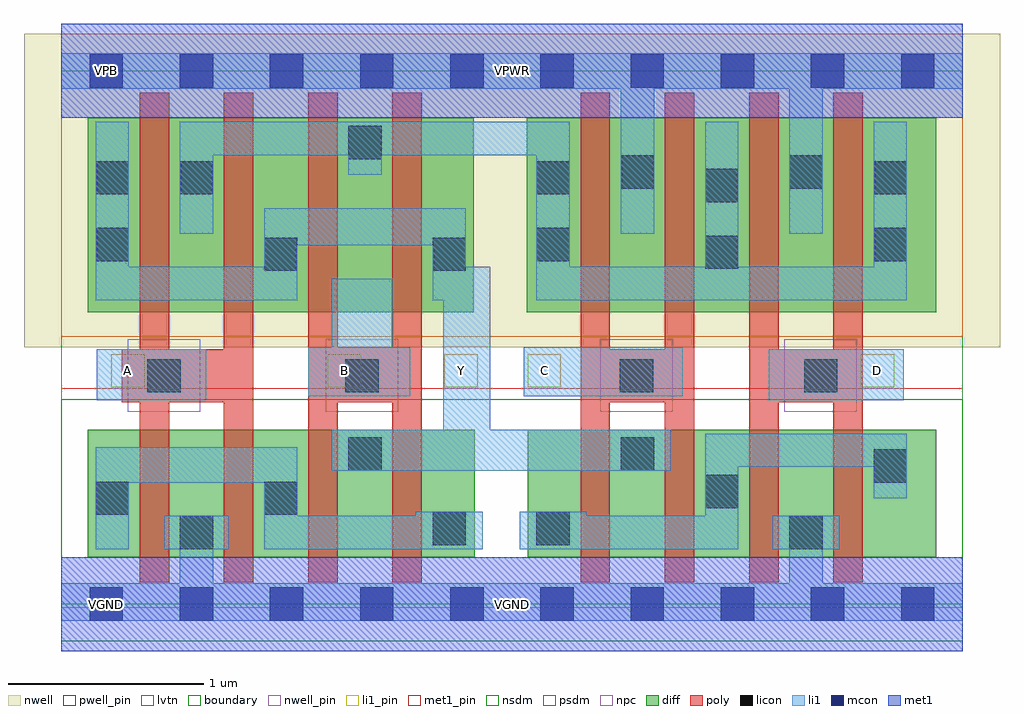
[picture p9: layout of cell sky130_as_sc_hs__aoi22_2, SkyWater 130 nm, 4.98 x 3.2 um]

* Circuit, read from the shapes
.subckt sky130_as_sc_hs__aoi22_2 A B C D VGND VNB VPB VPWR Y
XM1 VGND A n1 VNB sky130_fd_pr__nfet_01v8_lvt w=0.65 l=0.15 m=2
XM2 Y B n1 VNB sky130_fd_pr__nfet_01v8_lvt w=0.65 l=0.15 m=2
XM3 Y C n2 VNB sky130_fd_pr__nfet_01v8_lvt w=0.65 l=0.15 m=2
XM4 VGND D n2 VNB sky130_fd_pr__nfet_01v8_lvt w=0.65 l=0.15 m=2
XM5 n3 A Y VPB sky130_fd_pr__pfet_01v8 w=0.99 l=0.15 m=2
XM6 n3 B Y VPB sky130_fd_pr__pfet_01v8 w=0.99 l=0.15 m=2
XM7 VPWR C n3 VPB sky130_fd_pr__pfet_01v8 w=0.99 l=0.15 m=2
XM8 VPWR D n3 VPB sky130_fd_pr__pfet_01v8 w=0.99 l=0.15 m=2
.ends

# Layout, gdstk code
import gdstk
lib = gdstk.Library(unit=1e-6, precision=1e-09)
def R(c, l, rs):  # rectangles x0, y0, x1, y1
    for r in rs: c.add(gdstk.rectangle(r[:2], r[2:], *l))
def A(c, l, x, y, w, h, nx, ny, dx, dy):  # array of equal rectangles
    R(c, l, [(x+i*dx, y+j*dy, x+i*dx+w, y+j*dy+h) for i in range(nx) for j in range(ny)])
nwell_pin = (64, 16)
nwell = (64, 20)
diff = (65, 20)
poly = (66, 20)
licon = (66, 44)
li1_pin = (67, 16)
li1 = (67, 20)
mcon = (67, 44)
met1_pin = (68, 16)
met1 = (68, 20)
nsdm = (93, 44)
psdm = (94, 20)
npc = (95, 20)
pwell_pin = (122, 16)
lvtn = (125, 44)
boundary = (235, 4)

sky130_as_sc_hs__aoi22_2 = lib.new_cell('sky130_as_sc_hs__aoi22_2')
R(sky130_as_sc_hs__aoi22_2, nwell_pin, [(0.145,2.635,0.315,2.805)])
R(sky130_as_sc_hs__aoi22_2, nwell, [(-0.19,1.31,4.79,2.91)])
R(sky130_as_sc_hs__aoi22_2, diff, [(0.135,0.24,2.11,0.89), (2.38,0.24,4.465,0.89), (0.135,1.49,2.105,2.48), (2.375,1.49,4.465,2.48)])
A(sky130_as_sc_hs__aoi22_2, poly, 0.4, 0.11, 0.15, 0.92, 4, 1, 0.43, 0)
A(sky130_as_sc_hs__aoi22_2, poly, 2.65, 0.11, 0.15, 0.92, 4, 1, 0.43, 0)
A(sky130_as_sc_hs__aoi22_2, poly, 2.65, 1.3, 0.15, 1.31, 4, 1, 0.43, 0)
R(sky130_as_sc_hs__aoi22_2, poly, [(0.31,1.03,0.98,1.3), (1.26,1.03,1.84,1.31), (2.65,1.03,3.23,1.3), (3.51,1.03,4.09,1.3), (0.4,1.3,0.55,2.61), (0.83,1.3,0.98,2.61), (1.26,1.31,1.41,2.61), (1.69,1.31,1.84,2.61)])
R(sky130_as_sc_hs__aoi22_2, licon, [(0.605,0.28,0.775,0.45), (3.715,0.28,3.885,0.45), (1.895,0.3,2.065,0.47), (2.425,0.3,2.595,0.47), (0.175,0.455,0.345,0.625), (1.035,0.455,1.205,0.625), (3.285,0.49,3.455,0.66), (4.145,0.62,4.315,0.79), (1.465,0.68,1.635,0.85), (2.855,0.68,3.025,0.85), (0.44,1.08,0.61,1.25), (1.45,1.08,1.62,1.25), (2.85,1.08,3.02,1.25), (3.79,1.08,3.96,1.25), (1.035,1.7,1.205,1.87), (1.895,1.7,2.065,1.87), (3.285,1.71,3.455,1.88), (0.175,1.75,0.345,1.92), (2.425,1.75,2.595,1.92), (4.145,1.75,4.315,1.92), (3.285,2.05,3.455,2.22), (0.175,2.09,0.345,2.26), (0.605,2.09,0.775,2.26), (2.425,2.09,2.595,2.26), (4.145,2.09,4.315,2.26), (2.855,2.12,3.025,2.29), (3.715,2.12,3.885,2.29), (1.465,2.27,1.635,2.44)])
R(sky130_as_sc_hs__aoi22_2, li1_pin, [(0.255,1.105,0.425,1.275), (1.36,1.105,1.53,1.275), (1.955,1.105,2.125,1.275), (2.38,1.105,2.55,1.275), (4.08,1.105,4.25,1.275)])
R(sky130_as_sc_hs__aoi22_2, li1, [(0,-0.085,4.6,0.105), (0.605,0.105,0.775,0.28), (3.715,0.105,3.885,0.28), (0.175,0.28,0.345,0.62), (0.525,0.28,0.855,0.45), (1.035,0.28,2.15,0.45), (2.34,0.28,3.455,0.45), (3.63,0.28,3.97,0.45), (1.035,0.45,1.205,0.62), (1.81,0.45,2.15,0.47), (2.34,0.45,2.68,0.47), (3.285,0.45,3.455,0.7), (4.145,0.54,4.315,0.7), (0.175,0.62,1.205,0.8), (1.38,0.68,3.11,0.89), (3.285,0.7,4.315,0.87), (1.95,0.89,2.19,1.55), (0.18,1.04,0.74,1.3), (3.61,1.04,4.3,1.3), (1.26,1.06,1.78,1.31), (2.36,1.06,3.17,1.31), (1.38,1.31,1.69,1.66), (0.175,1.55,1.205,1.72), (1.895,1.55,2.19,1.72), (2.425,1.55,4.315,1.72), (0.175,1.72,0.345,2.46), (1.035,1.72,1.205,1.83), (1.895,1.72,2.065,1.83), (2.425,1.72,2.595,2.29), (3.285,1.72,3.455,2.46), (4.145,1.72,4.315,2.46), (1.035,1.83,2.065,2.02), (0.605,1.89,0.775,2.29), (2.855,1.89,3.025,2.63), (3.715,1.89,3.885,2.63), (1.465,2.19,1.635,2.29), (0.605,2.29,2.595,2.46), (0,2.63,4.6,2.81)])
A(sky130_as_sc_hs__aoi22_2, mcon, 0.145, -0.085, 0.17, 0.17, 10, 2, 0.46, 2.72)
R(sky130_as_sc_hs__aoi22_2, met1_pin, [(0,-0.24,4.6,0.24), (0.145,-0.085,0.315,0.085), (0,2.48,4.6,2.96), (0.145,2.635,0.315,2.805)])
R(sky130_as_sc_hs__aoi22_2, met1, [(0,-0.24,4.6,0.24), (0,2.48,4.6,2.96)])
R(sky130_as_sc_hs__aoi22_2, nsdm, [(0,-0.19,4.6,1.045)])
R(sky130_as_sc_hs__aoi22_2, psdm, [(0,1.365,4.6,2.91)])
R(sky130_as_sc_hs__aoi22_2, npc, [(0.34,0.98,0.71,1.35), (1.35,0.98,1.72,1.35), (2.75,0.98,3.12,1.35), (3.69,0.98,4.06,1.35)])
R(sky130_as_sc_hs__aoi22_2, pwell_pin, [(0.145,-0.085,0.315,0.085)])
R(sky130_as_sc_hs__aoi22_2, lvtn, [(0,-0.02,4.6,1.1)])
R(sky130_as_sc_hs__aoi22_2, boundary, [(0,0,4.6,2.72)])
sky130_as_sc_hs__aoi22_2.add(gdstk.Label('VPB', (0.23,2.72), layer=64, texttype=5))
sky130_as_sc_hs__aoi22_2.add(gdstk.Label('VPB', (0.23,2.72), layer=64, texttype=5))
sky130_as_sc_hs__aoi22_2.add(gdstk.Label('VGND', (0.23,0), layer=68, texttype=5))
sky130_as_sc_hs__aoi22_2.add(gdstk.Label('VGND', (2.3,0), layer=68, texttype=5))
sky130_as_sc_hs__aoi22_2.add(gdstk.Label('VPWR', (0.23,2.72), layer=68, texttype=5))
sky130_as_sc_hs__aoi22_2.add(gdstk.Label('VPWR', (2.3,2.72), layer=68, texttype=5))
sky130_as_sc_hs__aoi22_2.add(gdstk.Label('VNB', (0.23,0), layer=64, texttype=59))
sky130_as_sc_hs__aoi22_2.add(gdstk.Label('VNB', (0.23,0), layer=64, texttype=59))
sky130_as_sc_hs__aoi22_2.add(gdstk.Label('D', (4.165,1.19), layer=67, texttype=5))
sky130_as_sc_hs__aoi22_2.add(gdstk.Label('D', (4.165,1.19), layer=67, texttype=5))
sky130_as_sc_hs__aoi22_2.add(gdstk.Label('C', (2.465,1.19), layer=67, texttype=5))
sky130_as_sc_hs__aoi22_2.add(gdstk.Label('C', (2.465,1.19), layer=67, texttype=5))
sky130_as_sc_hs__aoi22_2.add(gdstk.Label('Y', (2.04,1.19), layer=67, texttype=5))
sky130_as_sc_hs__aoi22_2.add(gdstk.Label('Y', (2.04,1.19), layer=67, texttype=5))
sky130_as_sc_hs__aoi22_2.add(gdstk.Label('B', (1.445,1.19), layer=67, texttype=5))
sky130_as_sc_hs__aoi22_2.add(gdstk.Label('B', (1.445,1.19), layer=67, texttype=5))
sky130_as_sc_hs__aoi22_2.add(gdstk.Label('A', (0.34,1.19), layer=67, texttype=5))
sky130_as_sc_hs__aoi22_2.add(gdstk.Label('A', (0.34,1.19), layer=67, texttype=5))

lib.write_gds('sky130_as_sc_hs__aoi22_2.gds')
